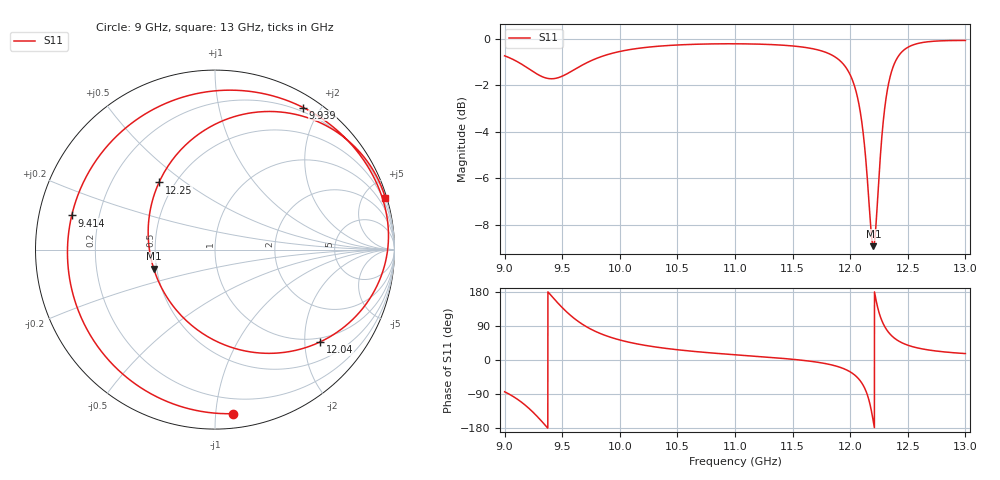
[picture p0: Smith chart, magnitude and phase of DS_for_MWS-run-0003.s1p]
! TOUCHSTONE file generated by CST DESIGN STUDIO
! Date and time: Tue Feb  4 16:13:12 2025
! Project name: C:\Work\MatlabApps\UnitCellOptimizationMatlab\CST\unitcell.cst
! Tree item: Tasks\Sweep1\SPara1\S-Parameters
! Header version: 2024
! Port assignment regex: !\s*Touchstone port\s*([0-9]+)\s*=\s*(CST MWS port|CST DES external port|CST DES block port)\s*(.+)\s* \(\"(.*)\"\)(\s*mode\s*([0-9]+))?.*
! Touchstone port assignment:
! Touchstone port 1 = CST DES external port 1 ("")
# GHz S MA R 50
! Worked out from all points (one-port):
!   4001 points, 9 GHz to 13 GHz, reference 50 ohm
!   lowest |S11| = -8.9 dB at 12.2 GHz (marker M1), VSWR 2.11, Z = 24.1 - j5.86 ohm
!   |S11| at or under -10 dB: nowhere
!   S11 on the Smith chart (normalised r, x): 9 GHz: 0.09, -1.11; 9.414 GHz: 0.10, +0.12; 9.939 GHz: 0.15, +1.79; 12.04 GHz: 0.90, -2.36; 12.25 GHz: 0.41, +0.40; 13 GHz: 0.18, +6.71
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9  0.9195 -83.8
9.113  0.8924 -103.9
9.206  0.8635 -126.2
9.319  0.8306 -160.7
9.414  0.8206 166.6
9.5  0.8311 138.3
9.582  0.852 115.2
9.671  0.8772 95.2
9.8  0.9082 73.9
9.939  0.9318 58.1
10  0.9395 52.8
10.215  0.958 38.9
10.5  0.9702 27.1
11  0.976 13.8
11.5  0.9656 1.9
11.832  0.9253 -12.5
12  0.8366 -31.3
12.045  0.7801 -41.2
12.135  0.5511 -80.7
12.167  0.4304 -110.8
12.201  0.3577 -162.7
12.246  0.4871 129.8
12.285  0.6567 96.8
12.328  0.7895 75.0
12.404  0.9058 53.2
12.5  0.959 39.1
12.681  0.9862 26.4
13  0.9923 16.9
